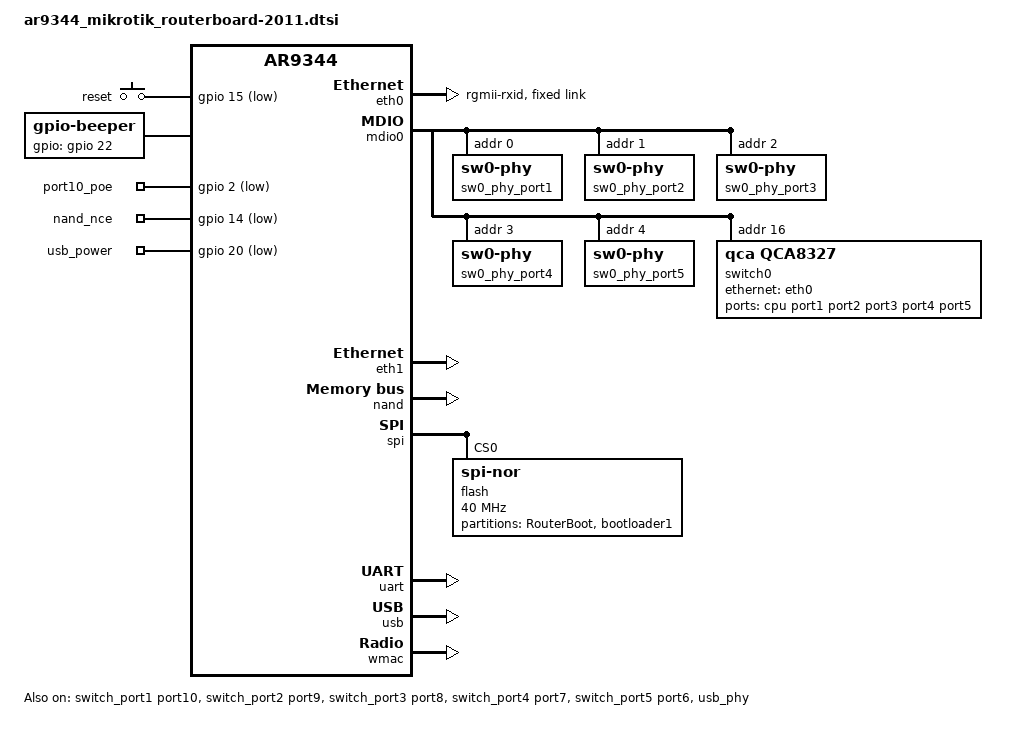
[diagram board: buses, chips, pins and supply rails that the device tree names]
// SPDX-License-Identifier: GPL-2.0-or-later OR MIT

#include "ar9344.dtsi"
#include <dt-bindings/gpio/gpio.h>
#include <dt-bindings/input/input.h>
#include "qca9xxx_ar9331_dsa.dtsi"

/ {
	aliases {
		led-boot = &led_user_sw;
		led-failsafe = &led_user_sw;
		led-running = &led_user_sw;
		led-upgrade = &led_user_sw;
		serial0 = &uart;
	};

	keys {
		compatible = "gpio-keys";

		reset {
			debounce-interval = <60>;
			gpios = <&gpio 15 GPIO_ACTIVE_LOW>;
			label = "reset";
			linux,code = <KEY_RESTART>;
		};
	};

	beeper {
		compatible = "gpio-beeper";
		gpios = <&gpio 22 GPIO_ACTIVE_HIGH>;
	};

	gpio-export {
		compatible = "gpio-export";

		gpio_port10_poe {
			gpio-export,name = "port10_poe";
			gpio-export,output = <0>;
			gpios = <&gpio 2 GPIO_ACTIVE_LOW>;
		};

		gpio_nand_power {
			gpio-export,name = "nand_nce";
			gpio-export,output = <0>;
			gpios = <&gpio 14 GPIO_ACTIVE_LOW>;
		};

		gpio_usb_power {
			gpio-export,name = "usb_power";
			gpio-export,output = <0>;
			gpios = <&gpio 20 GPIO_ACTIVE_LOW>;
		};
	};

};

&switch10 {
	qca,ar934x_sw;
	qca,strict-cpu-mode;
};

&eth0 {
	phy-mode = "rgmii-rxid";
	pll-data = <0x6f000000 0x00000101 0x00001616>; /* default for ar934x, except for 1000M */

	status = "okay";
	max-frame-size = <2074>;
	no-net-ip-align; /* this iface is for DSA */
	nvmem-cells = <&macaddr_hard>;
	nvmem-cell-names = "mac-address";
	mac-address-increment = <0>;

	fixed-link {
		speed = <1000>;
		full-duplex;
	};

	gmac-config {
		device = <&gmac>;
		rgmii-gmac0 = <1>;
		rxdv-delay = <1>;
		rxd-delay = <1>;
	};

};

&mdio0 {
	status = "okay";

	sw0_phy_port1: sw0-phy@0 {
		reg = <0>;
	};
	sw0_phy_port2: sw0-phy@1 {
		reg = <1>;
	};
	sw0_phy_port3: sw0-phy@2 {
		reg = <2>;
	};
	sw0_phy_port4: sw0-phy@3 {
		reg = <3>;
	};
	sw0_phy_port5: sw0-phy@4 {
		reg = <4>;
	};

	switch0: switch@10 {
		compatible = "qca,qca8327";
		#address-cells = <1>;
		#size-cells = <0>;

		reg = <0x10>;
		/* reset-gpios = ??? */
		dsa,member = <0 0>;
		qca,strict-cpu-mode;
		qca,ignore-power-on-sel;
		qca,led-open-drain;
		qca,swregs-initvals = <
			0x50 0xc731c731 /* LED_CTRL0 */
			0x54 0x00000000 /* LED_CTRL1 */
			0x58 0x00008000 /* LED_CTRL2 - turn off the backlight of the LCD screen (sw LED PORT 2) */
			0x5c 0x0030c300 /* LED_CTRL3 */
		>;
		qca,phy_leds {
			port6_led {
				label = "green:port6";
				entry = <1 14>;
			};
			port7_led {
				label = "green:port7";
				entry = <3 10>;
			};
			port8_led {
				label = "green:port8";
				entry = <3 16>;
			};
			port9_led {
				label = "green:port9";
				entry = <3 22>;
			};
			port10_led {
				label = "green:port10";
				entry = <1 30>;
			};
			led_user_sw: user {
				label = "heart_led";
				entry = <2 30>;
				linux,default-trigger = "heartbeat";
			};
		};
		ports {
			#address-cells = <1>;
			#size-cells = <0>;

			switch0cpu: port@0 {
				reg = <0>;
				label = "cpu";
				ethernet = <&eth0>;
				phy-mode = "rgmii";
				tx-internal-delay-ps = <3000>;
				rx-internal-delay-ps = <2000>; /* Mac0_rgmii_rxclk_delay_en - 1000M: delay 2ns output to cpu, 10/100M: delay value depend on bit21:bit20 */
				fixed-link {
					speed = <1000>;
					full-duplex;
				};
			};

			port@1 {
				reg = <1>;
				label = "port1";
				phy-handle = <&sw0_phy_port1>;
				nvmem-cells = <&macaddr_hard>;
				nvmem-cell-names = "mac-address";
				mac-address-increment = <0>;
			};

			port@2 {
				reg = <2>;
				label = "port2";
				phy-handle = <&sw0_phy_port2>;
				nvmem-cells = <&macaddr_hard>;
				nvmem-cell-names = "mac-address";
				mac-address-increment = <1>;
			};

			port@3 {
				reg = <3>;
				label = "port3";
				phy-handle = <&sw0_phy_port3>;
				nvmem-cells = <&macaddr_hard>;
				nvmem-cell-names = "mac-address";
				mac-address-increment = <2>;
			};

			port@4 {
				reg = <4>;
				label = "port4";
				phy-handle = <&sw0_phy_port4>;
				nvmem-cells = <&macaddr_hard>;
				nvmem-cell-names = "mac-address";
				mac-address-increment = <3>;
			};

			port@5 {
				reg = <5>;
				label = "port5";
				phy-handle = <&sw0_phy_port5>;
				nvmem-cells = <&macaddr_hard>;
				nvmem-cell-names = "mac-address";
				mac-address-increment = <4>;
			};
		};
	};
};

&switch10 {
	dsa,member = <1 0>;
};

&eth1 {
	status = "okay";
	max-frame-size = <2074>;
	no-net-ip-align; /* this iface is for DSA */
	nvmem-cells = <&macaddr_hard>;
	nvmem-cell-names = "mac-address";
	mac-address-increment = <5>;
};

&switch_port1 {
	status = "okay";
	label = "port10";
	nvmem-cells = <&macaddr_hard>;
	nvmem-cell-names = "mac-address";
	mac-address-increment = <9>;
};
&switch_port2 {
	status = "okay";
	label = "port9";
	nvmem-cells = <&macaddr_hard>;
	nvmem-cell-names = "mac-address";
	mac-address-increment = <8>;
};
&switch_port3 {
	status = "okay";
	label = "port8";
	nvmem-cells = <&macaddr_hard>;
	nvmem-cell-names = "mac-address";
	mac-address-increment = <7>;
};
&switch_port4 {
	status = "okay";
	label = "port7";
	nvmem-cells = <&macaddr_hard>;
	nvmem-cell-names = "mac-address";
	mac-address-increment = <6>;
};

&switch_port5 {
	status = "okay";
	label = "port6";
	nvmem-cells = <&macaddr_hard>;
	nvmem-cell-names = "mac-address";
	mac-address-increment = <5>;
};

&nand {
	nand-ecc-mode = "soft";
	qca,nand-scan-fixup;
	qca,nand-swap-dma;
	status = "okay";

	partitions {
		compatible = "fixed-partitions";
		#address-cells = <1>;
		#size-cells = <1>;

		partition@0 {
			label = "booter";
			reg = <0x0000000 0x0040000>;
			read-only;
		};

		partition@40000 {
			label = "kernel";
			reg = <0x0040000 0x03c0000>;
		};

		partition@400000 {
			label = "ubi";
			reg = <0x0400000 0>; /* dynamic size: 64Mb || 128Mb */
		};
	};
};

&spi {
	status = "okay";

	flash@0 {
		compatible = "jedec,spi-nor";
		reg = <0>;
		spi-max-frequency = <40000000>;

		partitions {
			compatible = "fixed-partitions";
			#address-cells = <1>;
			#size-cells = <1>;

			partition@0 {
				label = "RouterBoot";
				reg = <0x0 0x10000>;
				read-only;
				compatible = "mikrotik,routerboot-partitions";
				#address-cells = <1>;
				#size-cells = <1>;

				partition@0 {
					label = "bootloader1";
					reg = <0x0 0x0>;
					read-only;
				};

				hard_config: hard_config {
					read-only;
				};

				bios {
					size = <0x1000>;
					read-only;
				};

				soft_config {
					label = "soft_config";
				};
			};
		};
	};
};

&uart {
	status = "okay";
};

&usb {
	status = "okay";
};

&usb_phy {
	status = "okay";
};

&wmac {
	status = "okay";

	qca,no-eeprom;
};

&hard_config {
	compatible = "nvmem-cells";
	#address-cells = <1>;
	#size-cells = <1>;

	macaddr_hard: macaddr@10 {
		reg = <0x10 0x6>;
	};
};
